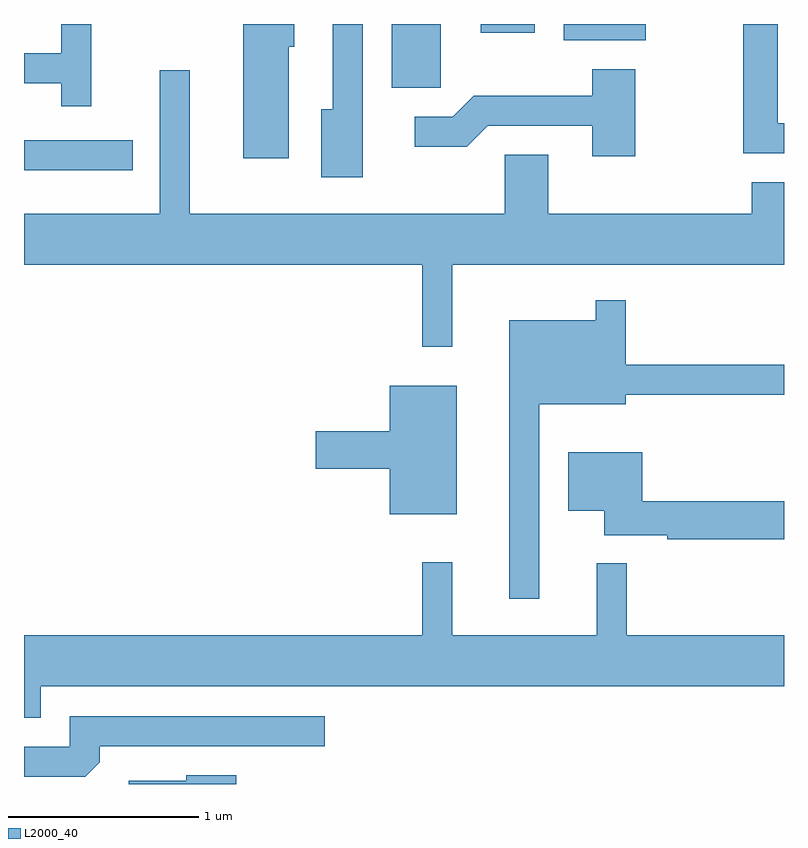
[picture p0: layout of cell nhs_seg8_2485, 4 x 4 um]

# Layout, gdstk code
import gdstk
lib = gdstk.Library(unit=1e-6, precision=1e-09)
def R(c, l, rs):  # rectangles x0, y0, x1, y1
    for r in rs: c.add(gdstk.rectangle(r[:2], r[2:], *l))
def P(c, l, *ps):  # polygons
    for p in ps: c.add(gdstk.Polygon(p, *l))
L2000_40 = (2000, 40)

nhs_seg8_2485 = lib.new_cell('nhs_seg8_2485')
R(nhs_seg8_2485, L2000_40, [(259.611,1843.571,260.183,1843.729), (261.546,1844.006,261.804,1844.342), (262.451,1844.256,262.884,1844.342), (262.016,1844.296,262.299,1844.342)])
P(nhs_seg8_2485, L2000_40, [(259.964,1844.342),(259.806,1844.342),(259.806,1844.189),(259.611,1844.189),(259.611,1844.031),(259.806,1844.031),(259.806,1843.908),(259.964,1843.908)],
  [(263.611,1843.819),(263.579,1843.819),(263.579,1844.342),(263.396,1844.342),(263.396,1843.661),(263.611,1843.661)],
  [(261.004,1844.221),(261.034,1844.221),(261.034,1844.342),(260.766,1844.342),(260.766,1843.636),(261.004,1843.636)],
  [(261.394,1844.342),(261.236,1844.342),(261.236,1843.894),(261.176,1843.894),(261.176,1843.536),(261.394,1843.536)],
  [(262.829,1844.104),(262.601,1844.104),(262.601,1843.964),(261.979,1843.964),(261.868,1843.854),(261.668,1843.854),(261.668,1843.696),(261.942,1843.696),(262.052,1843.806),(262.601,1843.806),(262.601,1843.646),(262.829,1843.646)],
  [(261.864,1843.076),(263.611,1843.076),(263.611,1843.509),(263.441,1843.509),(263.441,1843.344),(262.369,1843.344),(262.369,1843.654),(262.141,1843.654),(262.141,1843.344),(260.484,1843.344),(260.484,1844.098),(260.326,1844.098),(260.326,1843.344),(259.611,1843.344),(259.611,1843.076),(261.706,1843.076),(261.706,1842.643),(261.864,1842.643)],
  [(262.324,1842.341),(262.779,1842.341),(262.779,1842.391),(263.611,1842.391),(263.611,1842.549),(262.779,1842.549),(262.779,1842.888),(262.621,1842.888),(262.621,1842.784),(262.166,1842.784),(262.166,1841.318),(262.324,1841.318)],
  [(261.889,1842.439),(261.536,1842.439),(261.536,1842.199),(261.146,1842.199),(261.146,1842.001),(261.536,1842.001),(261.536,1841.761),(261.889,1841.761)],
  [(263.611,1841.829),(262.864,1841.829),(262.864,1842.089),(262.476,1842.089),(262.476,1841.781),(262.666,1841.781),(262.666,1841.651),(262.996,1841.651),(262.996,1841.631),(263.611,1841.631)],
  [(259.699,1840.856),(263.611,1840.856),(263.611,1841.124),(262.784,1841.124),(262.784,1841.503),(262.626,1841.503),(262.626,1841.124),(261.864,1841.124),(261.864,1841.508),(261.706,1841.508),(261.706,1841.124),(259.611,1841.124),(259.611,1840.691),(259.699,1840.691)],
  [(260.009,1840.457),(260.009,1840.541),(261.193,1840.541),(261.193,1840.699),(259.851,1840.699),(259.851,1840.539),(259.611,1840.539),(259.611,1840.381),(259.933,1840.381)],
  [(260.729,1840.389),(260.466,1840.389),(260.466,1840.359),(260.161,1840.359),(260.161,1840.342),(260.729,1840.342)])

lib.write_gds('nhs_seg8_2485.gds')
